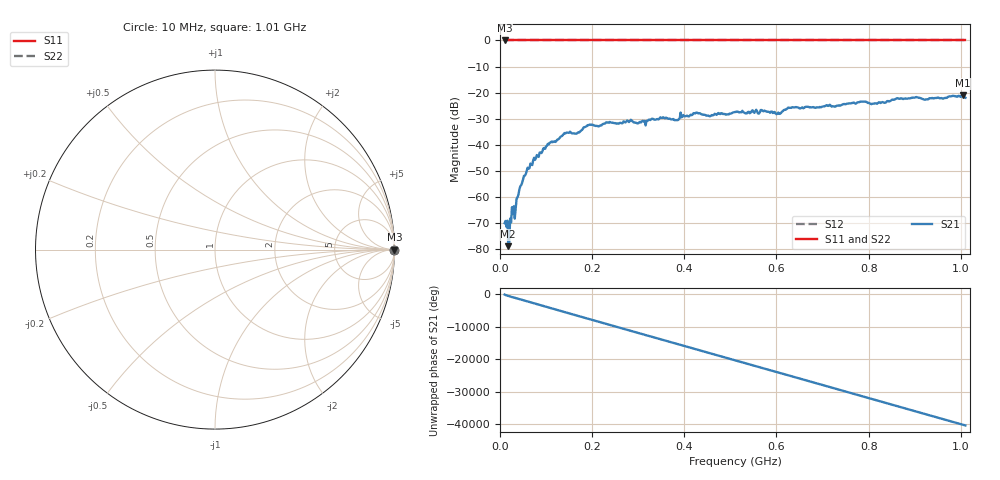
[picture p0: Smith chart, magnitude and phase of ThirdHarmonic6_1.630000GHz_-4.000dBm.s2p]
! 8/16/2025 7:28:43 PM
! C:\ANRITSUVNA\TEMP\TEMP.S2P
! CHANNEL.1
! TR.MEASUREMENT
! RAW.DATA
! RF.CORRECTION.OFF
! AVERAGING.OFF
! IF.BANDWIDTH: 5KHZ
! SWEEPTYPE:  FREQ.SWEEP(Linear)
! Reference Plane Port Info
! PORT:  PORT1  PORT2
! DISTANCE:  0  m  0  m
! TIME:  0  s  0  s
! PHASE.OFFSET:  0  deg.  0  deg.
! LOSS:  0  dB  0  dB
! REF.LOSS:  0  dB  0  dB
! REF.FREQ:  0  Hz  0  Hz
! Power Info
! POWER:  -20  dBm  -20  dBm
! EFF.POWER:  -20  dBm  -20  dBm
! SOURCE.ATTEN:  0  dB  0  dB
! TEST.ATTEN:  0  dB  0  dB
# GHZ S RI R 50.0
! FREQ.GHZ  S11RE  S11IM  S21RE  S21IM  S12RE  S12IM  S22RE  S22IM
!; PortSelection: Port_12
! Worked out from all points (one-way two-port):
!   501 points, 10 MHz to 1.01 GHz, reference 50 ohm
!   highest |S21| = -20.99 dB at 1.004 GHz (marker M1); lowest = -78.9 dB at 18 MHz (marker M2)
!   lowest |S11| = 0.0 dB at 10 MHz (marker M3)
!   |S11| at or under -10 dB: nowhere
!   |S22| runs from 0.0 to 0.0 dB; largest |S21 - S12| = 1.1
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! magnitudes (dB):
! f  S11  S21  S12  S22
! 10 MHz  0.0  -70.0  0.0  0.0
! 18 MHz  0.0  -78.9  0.0  0.0
! 22 MHz  0.0  -68.3  0.0  0.0
! 26 MHz  0.0  -63.9  0.0  0.0
! 36 MHz  0.0  -60.7  0.0  0.0
! 40 MHz  0.0  -59.1  0.0  0.0
! 48 MHz  0.0  -54.6  0.0  0.0
! 76 MHz  0.0  -45.8  0.0  0.0
! 108 MHz  0.0  -39.2  0.0  0.0
! 142 MHz  0.0  -35.6  0.0  0.0
! 178 MHz  0.0  -34.3  0.0  0.0
! 194 MHz  0.0  -32.3  0.0  0.0
! 344 MHz  0.0  -30.3  0.0  0.0
! 382 MHz  0.0  -30.5  0.0  0.0
! 424 MHz  0.0  -28.0  0.0  0.0
! 510 MHz  0.0  -27.4  0.0  0.0
! 604 MHz  0.0  -27.7  0.0  0.0
! 630 MHz  0.0  -25.8  0.0  0.0
! 678 MHz  0.0  -25.6  0.0  0.0
! 844 MHz  0.0  -23.4  0.0  0.0
! 1.004 GHz  0.0  -21.0  0.0  0.0
! 1.01 GHz  0.0  -22.0  0.0  0.0
